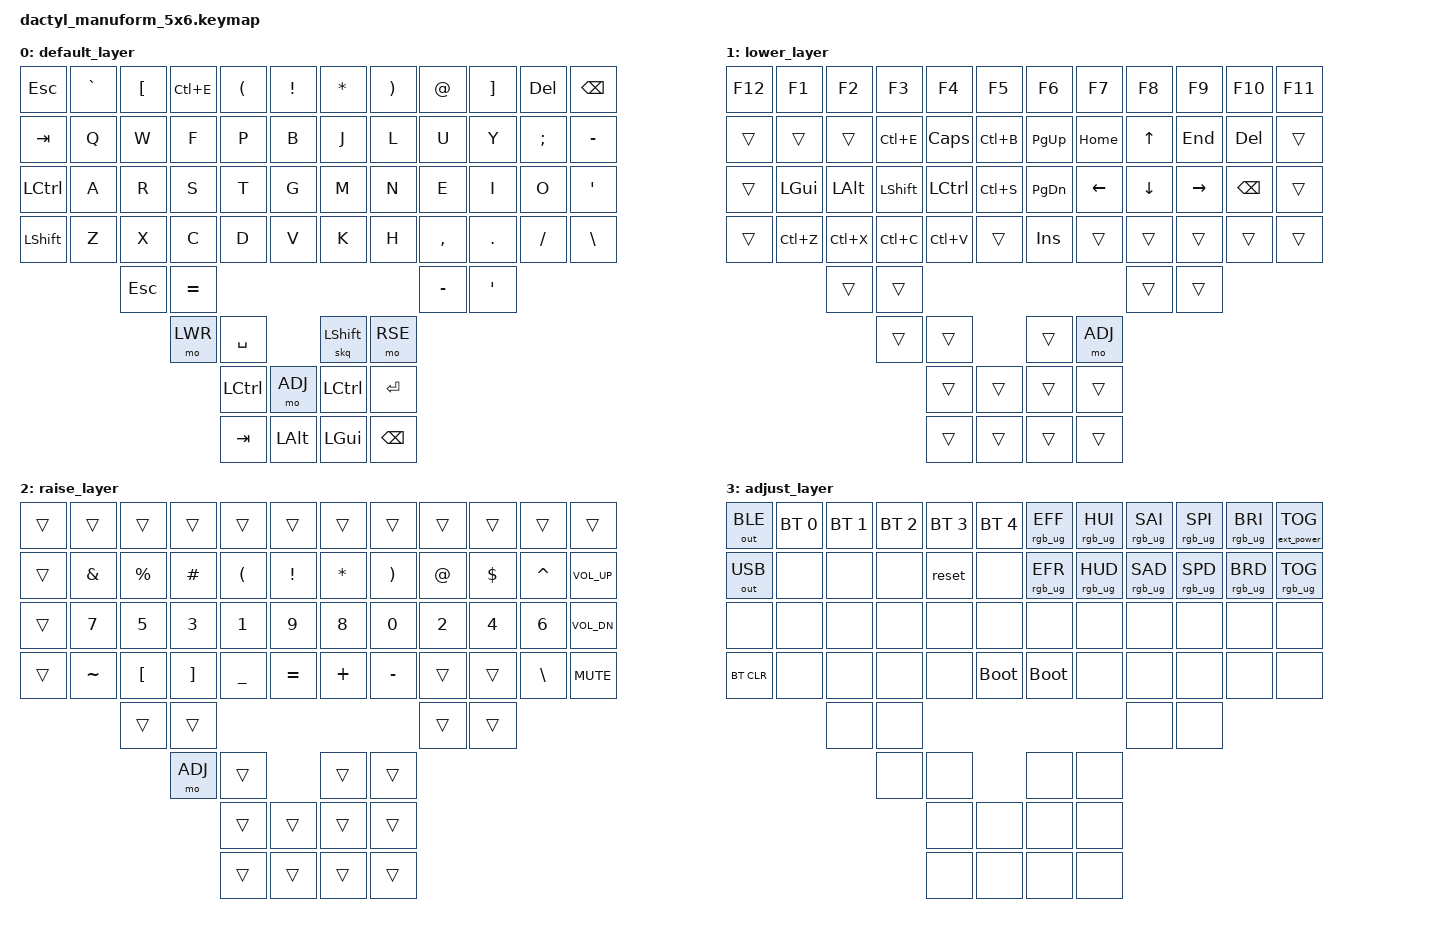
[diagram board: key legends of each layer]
#include <behaviors.dtsi>
#include <dt-bindings/zmk/keys.h>
#include <dt-bindings/zmk/bt.h>
#include <dt-bindings/zmk/outputs.h>

#define DEFAULT 0
#define LWR 1
#define RSE 2
#define ADJ 3

/ {
    keymap {
        compatible = "zmk,keymap";

        default_layer {
            bindings = <
                &kp ESC &kp GRAVE &kp LBKT &kp LC(E) &kp LPAR &kp EXCL      &kp ASTRK &kp RPAR  &kp AT    &kp RBKT &kp DEL  &kp BSPC
                &kp TAB   &kp Q  &kp W     &kp F    &kp P   &kp B              &kp J  &kp L    &kp U     &kp Y    &kp SEMI &kp MINUS
                &kp LCTRL &kp A  &kp R     &kp S    &kp T   &kp G              &kp M  &kp N    &kp E     &kp I    &kp O    &kp SQT
                &kp LSHFT &kp Z  &kp X     &kp C    &kp D   &kp V              &kp K  &kp H    &kp COMMA &kp DOT  &kp FSLH &kp BSLH
                                 &kp ESC   &kp EQUAL                                           &kp MINUS &kp SQT
                                        &mo LWR   &kp SPACE                      &skq LSHFT &mo RSE
                                                  &kp LCTRL &mo ADJ    &kp LCTRL &kp RET
                                                  &kp TAB   &kp LALT   &kp LGUI  &kp BSPC
            >;
        };

        lower_layer {
            bindings = <
                &kp F12 &kp F1    &kp F2    &kp F3    &kp F4    &kp F5         &kp F6    &kp F7    &kp F8    &kp F9    &kp F10  &kp F11
                &trans  &trans    &trans    &kp LC(E) &kp CAPS  &kp LC(B)      &kp PG_UP &kp HOME  &kp UP    &kp END   &kp DEL  &trans
                &trans  &kp LGUI  &kp LALT  &kp LSHFT &kp LCTRL &kp LC(S)      &kp PG_DN &kp LEFT  &kp DOWN  &kp RIGHT &kp BSPC &trans
                &trans  &kp LC(Z) &kp LC(X) &kp LC(C) &kp LC(V) &trans         &kp INS   &trans    &trans    &trans    &trans   &trans
                               &trans &trans                                                       &trans    &trans
                                            &trans   &trans                         &trans    &mo ADJ
                                                     &trans    &trans       &trans  &trans
                                                     &trans    &trans       &trans  &trans
            >;
        };

        raise_layer {
            bindings = <
                &trans  &trans    &trans    &trans     &trans    &trans                        &trans    &trans    &trans    &trans    &trans    &trans
                &trans  &kp AMPS  &kp PRCNT &kp HASH   &kp LPAR  &kp EXCL                      &kp ASTRK &kp RPAR  &kp AT    &kp DLLR  &kp CARET &kp K_VOL_UP
                &trans  &kp N7    &kp N5    &kp N3     &kp N1    &kp N9                        &kp N8    &kp N0    &kp N2    &kp N4    &kp N6    &kp K_VOL_DN
                &trans  &kp TILDE &kp LBKT  &kp RBKT   &kp UNDER &kp EQUAL                     &kp PLUS  &kp MINUS &trans    &trans    &kp BSLH  &kp K_MUTE
                               &trans &trans                                                                       &trans    &trans
                                            &mo ADJ  &trans                         &trans    &trans
                                                     &trans    &trans       &trans  &trans
                                                     &trans    &trans       &trans  &trans
            >;
        };

        adjust_layer {
            bindings = <
                &out OUT_BLE &bt BT_SEL 0 &bt BT_SEL 1 &bt BT_SEL 2 &bt BT_SEL 3 &bt BT_SEL 4              &rgb_ug RGB_EFF &rgb_ug RGB_HUI &rgb_ug RGB_SAI &rgb_ug RGB_SPI &rgb_ug RGB_BRI &ext_power EP_TOG
                &out OUT_USB &none        &none        &none        &reset       &none                     &rgb_ug RGB_EFR &rgb_ug RGB_HUD &rgb_ug RGB_SAD &rgb_ug RGB_SPD &rgb_ug RGB_BRD &rgb_ug RGB_TOG 
                &none        &none        &none        &none        &none        &none                     &none           &none           &none           &none           &none           &none
                &bt BT_CLR   &none        &none        &none        &none        &bootloader               &bootloader     &none           &none           &none           &none           &none
                                          &none        &none                                                                               &none           &none
                                                            &none &none                                    &none &none
                                                                  &none &none                        &none &none
                                                                  &none &none                        &none &none
            >;
        };
    };
};
